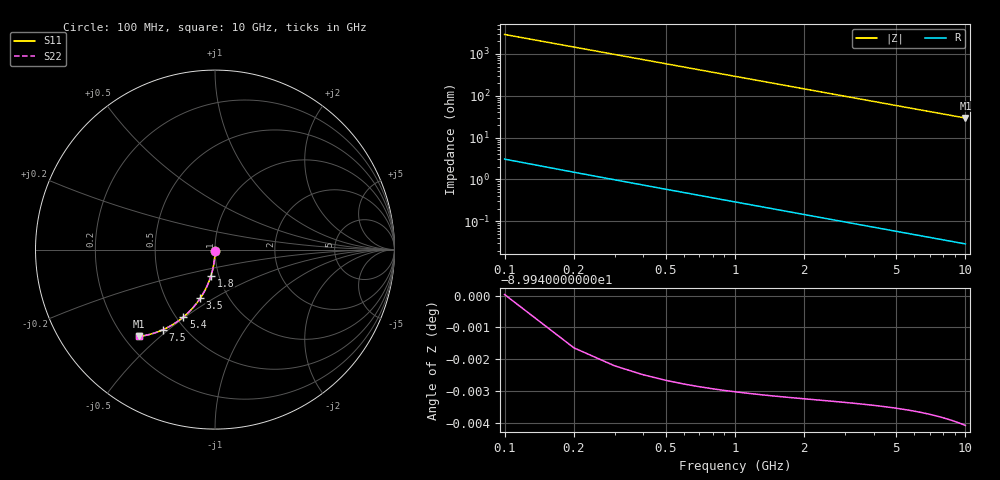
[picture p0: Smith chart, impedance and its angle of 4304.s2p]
# Hz S RI R 50.00
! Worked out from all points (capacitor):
!   100 points, 100 MHz to 10 GHz, reference 50 ohm
!   read as one part in shunt: C = 545 fF near 100 MHz
!   lowest |Z| = 29.5 ohm at 10 GHz (marker M1)
!   S11 on the Smith chart (normalised r, x): 100 MHz: 1.00, -0.02; 1.8 GHz: 0.91, -0.28; 3.5 GHz: 0.74, -0.44; 5.4 GHz: 0.54, -0.49; 7.5 GHz: 0.38, -0.48; 10 GHz: 0.26, -0.43
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1e8  -6.34e-05 -0.00846  0.9999 -0.00864  0.9999 -0.00864  -6.34e-05 -0.00846
2e8  -0.000291 -0.0169  0.9997 -0.0173  0.9997 -0.0173  -0.000291 -0.0169
3e8  -0.000665 -0.0254  0.9993 -0.0259  0.9993 -0.0259  -0.000665 -0.0254
4e8  -0.00118 -0.0338  0.9988 -0.0345  0.9988 -0.0345  -0.00118 -0.0338
5e8  -0.00185 -0.0422  0.9981 -0.0431  0.9981 -0.0431  -0.00185 -0.0422
6e8  -0.00266 -0.0506  0.9973 -0.0517  0.9973 -0.0517  -0.00266 -0.0506
8e8  -0.00471 -0.0674  0.9953 -0.0688  0.9953 -0.0688  -0.00471 -0.0674
1.1e9  -0.00885 -0.0923  0.9911 -0.0942  0.9911 -0.0942  -0.00885 -0.0923
1.4e9  -0.0142 -0.1168  0.9857 -0.1193  0.9857 -0.1193  -0.0142 -0.1168
1.8e9  -0.0233 -0.1487  0.9767 -0.152  0.9767 -0.152  -0.0233 -0.1487
2.1e9  -0.0314 -0.172  0.9686 -0.1758  0.9686 -0.1758  -0.0314 -0.172
2.5e9  -0.0439 -0.2021  0.9561 -0.2067  0.9561 -0.2067  -0.0439 -0.2021
2.9e9  -0.0581 -0.2309  0.9418 -0.2362  0.9418 -0.2362  -0.0581 -0.2309
3.4e9  -0.0782 -0.2649  0.9218 -0.2711  0.9218 -0.2711  -0.0782 -0.2649
3.5e9  -0.0824 -0.2714  0.9175 -0.2777  0.9175 -0.2777  -0.0824 -0.2714
4.3e9  -0.1193 -0.3198  0.8806 -0.3276  0.8806 -0.3276  -0.1193 -0.3198
5.1e9  -0.16 -0.3615  0.8399 -0.3708  0.8399 -0.3708  -0.16 -0.3615
5.4e9  -0.176 -0.3754  0.824 -0.3853  0.824 -0.3853  -0.176 -0.3754
6.7e9  -0.2473 -0.4248  0.7526 -0.4371  0.7526 -0.4371  -0.2473 -0.4248
7.5e9  -0.2915 -0.4471  0.7083 -0.4609  0.7083 -0.4609  -0.2915 -0.4471
8.4e9  -0.3404 -0.4656  0.6595 -0.4812  0.6595 -0.4812  -0.3404 -0.4656
1e10  -0.4223 -0.4841  0.5775 -0.5028  0.5775 -0.5028  -0.4223 -0.4841
